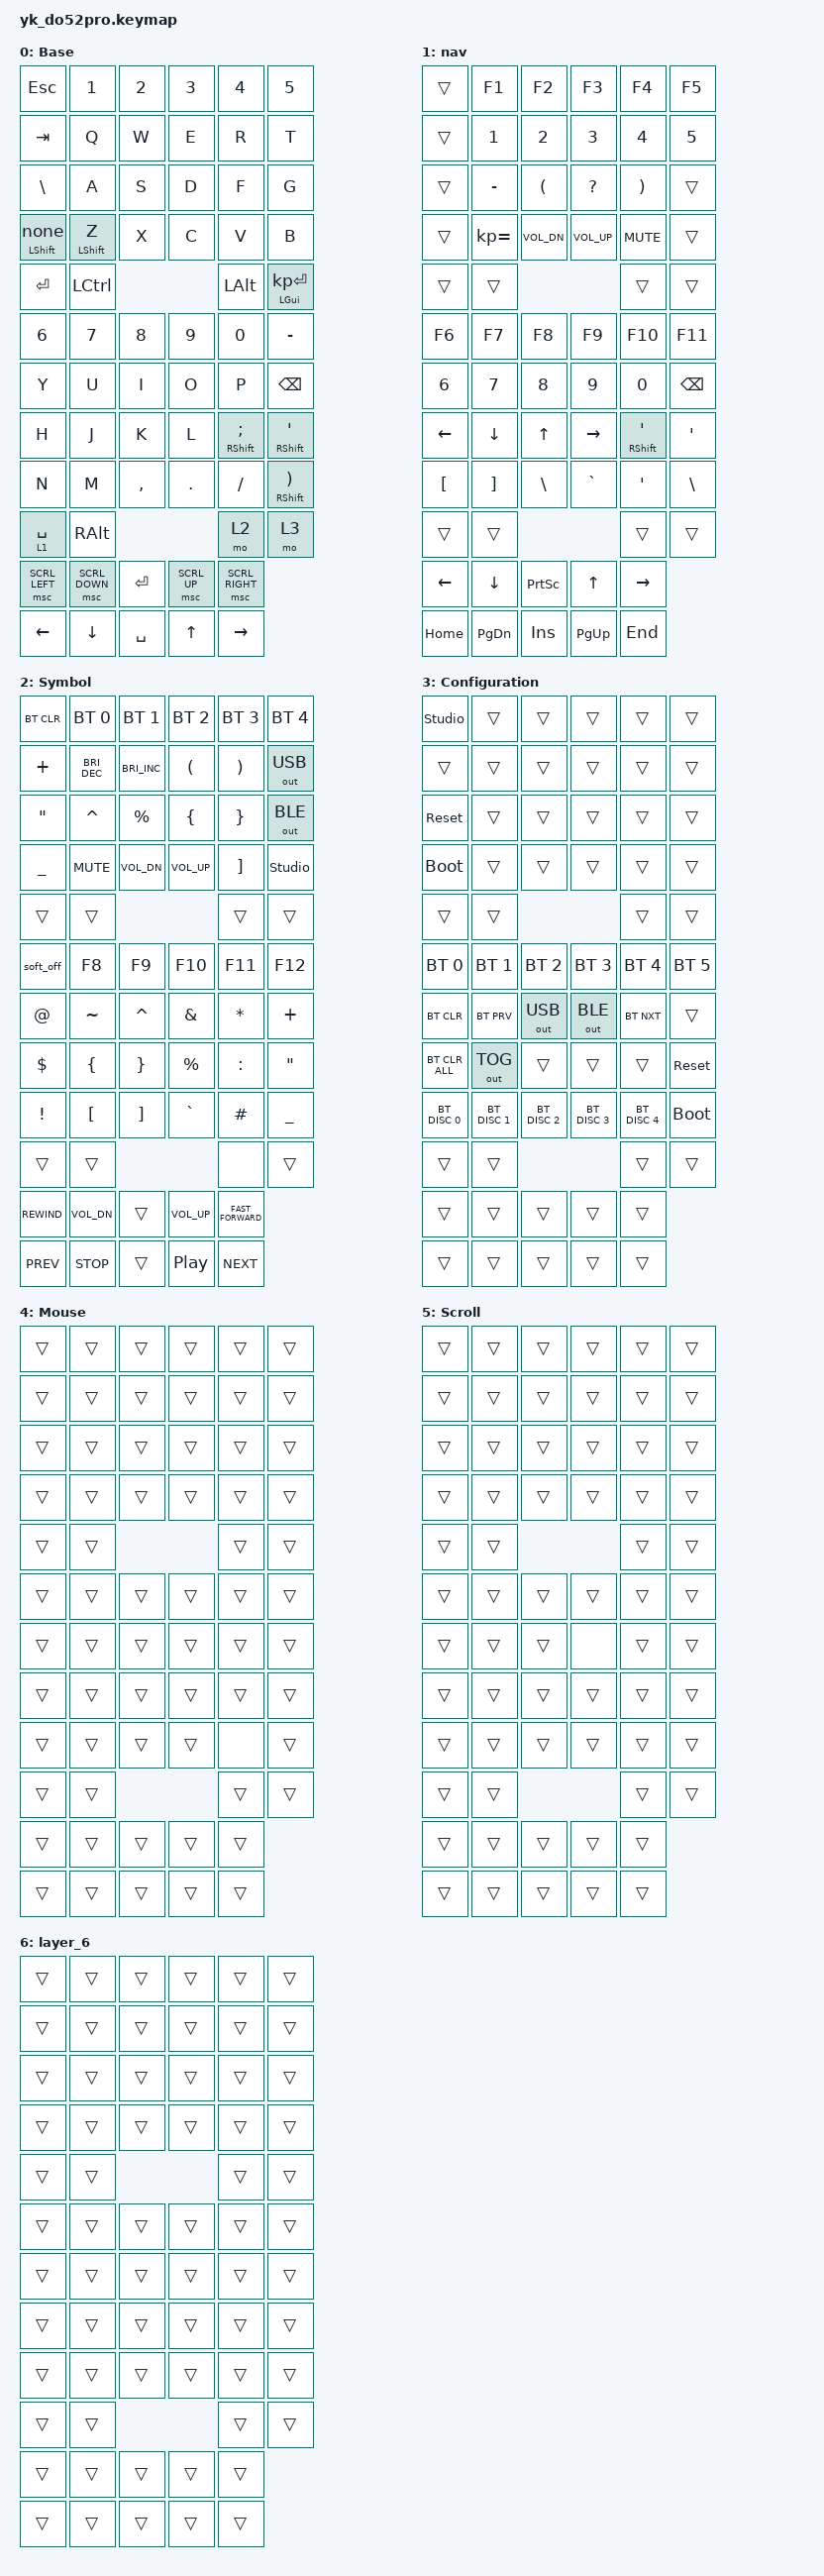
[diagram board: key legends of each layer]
/*
 * Copyright (c) 2020 The ZMK Contributors
 *
 * SPDX-License-Identifier: MIT
 */

#include "zmk-helpers/helper.h"
#include "include/yk_do52_key.h"

/*
 * Defines to enable/disable features
 *
 * These defines allow us to conditionally enable and disable parts of the keymap config.
 *
 * For example, if we decide to build the firmware without the mouse features, we can
 * disable all the config options that rely on those forks and modules without having
 * to edit the entire keymap file manually every time.
 */

#define HAS_MOUSE_KEYS
#define HAS_MOUSE_TP
#define BASE      0
#define GAME      1
#define MIRROR    2
#define SYMBOL    3
#define CONFIG    4
#define MOUSE     5
#define SCROLL_TP 6

#ifdef HAS_MOUSE_KEYS

#include <dt-bindings/zmk/mouse.h>
#include <behaviors/mouse_keys.dtsi>
#include <behaviors.dtsi>
#include <dt-bindings/zmk/bt.h>
#include <dt-bindings/zmk/keys.h>
#include <dt-bindings/zmk/outputs.h>
#include <dt-bindings/zmk/pointing.h>

#endif  // HAS_MOUSE_KEYS

#ifdef HAS_MOUSE_TP

// We store the trackpoint settings in a separate file
// to make organization a little easier.

#include "include/mouse_tp.dtsi"

#endif  // HAS_MOUSE_TP
// key-position labels

#define KEYS_L LT0 LT1 LT2 LT3 LT4 LM0 LM1 LM2 LM3 LM4 LB0 LB1 LB2 LB3 LB4  // left-hand keys
#define KEYS_R RT0 RT1 RT2 RT3 RT4 RM0 RM1 RM2 RM3 RM4 RB0 RB1 RB2 RB3 RB4  // right-hand keys
#define THUMBS LH3 LH2 LH1 LH0 RH0 RH1 RH2 RH3                              // thumb keys

// Adjust layer keys based on enabled features.
//
// This prevents build errors when we build the firmware
// without the mouse keys PR or the TP module.

#ifdef HAS_MOUSE_KEYS

#define U_THUMB_INNER &mo MOUSE_KEYS

#else

#define U_THUMB_INNER &none

#endif  // HAS_MOUSE_KEYS

#ifdef HAS_MOUSE_TP

#define U_TOG_TP_SET &tog MOUSE_TP_SET

#else

#define U_TOG_TP_SET &none

#endif  // HAS_MOUSE_TP

#define TAPPING_TERM_MS 200

// Disable line-wrap in your editor to see a "visualization" of the key layouts

&lt {
    flavor = "tap-unless-interrupted";
    //flavor = "balanced";
	tapping-term-ms = <250>;
};

&mt {
    flavor = "tap-unless-interrupted";
    //flavor = "balanced";
    tapping-term-ms = <250>;
};

&soft_off { hold-time-ms = <5000>; };

/ {
    behaviors {
        /* left-hand HRMs */
        /* right-hand HRMs */

        lshift: magic_left_shift {
            compatible = "zmk,behavior-hold-tap";
            flavor = "balanced";
            tapping-term-ms = <200>;                // repeat on tap-into-hold
            require-prior-idle-ms = <15>;
            #binding-cells = <2>;
            bindings = <&kp>, <&none>;

            hold-trigger-on-release;             // delay positional check until key-release
        };

        holdkey: holdkey {
            compatible = "zmk,behavior-hold-tap";
            label = "HOLDKEY";
            bindings = <&kp>, <&kp>;

            #binding-cells = <2>;
            tapping-term-ms = <200>;
            flavor = "tap-unless-interrupted";
    		//flavor = "balanced";
        };
    };

    combos {
        compatible = "zmk,combos";

        esc_combo {
            bindings = <&kp ESCAPE>;
            key-positions = <8 7>;
        };
    };

    keymap {
        compatible = "zmk,keymap";

        Base_layer {
            display-name = "Base";
            bindings = <
//left
&kp ESC				&kp N1				&kp N2		&kp N3			&kp N4					&kp N5
&kp TAB  			&kp Q				&kp W  		&kp E  			&kp R  					&kp T
&kp BACKSLASH  		&kp A				&kp S  		&kp D  			&kp F  					&kp G
&lshift LSHIFT 0	&holdkey LSHFT Z	&kp X  		&kp C			&kp V  					&kp B
&kp RETURN  		&kp LCTRL  										&kp LALT  				&holdkey LEFT_GUI KP_ENTER
//right
&kp N6				&kp N7  		&kp N8  	&kp N9  		&kp N0  				&kp MINUS
&kp Y  				&kp U  			&kp I  		&kp O  			&kp P  					&kp BACKSPACE  
&kp H  				&kp J  			&kp K  		&kp L  			&holdkey RSHIFT SEMI	&holdkey RSHFT SQT  
&kp N  				&kp M  			&kp COMMA  	&kp PERIOD		&kp SLASH  				&holdkey RSHFT RPAR  
&lt 1 SPACE  		&kp RALT  									&mo 2  					&mo 3  
&msc SCRL_LEFT  	&msc SCRL_DOWN  &kp ENTER  	&msc SCRL_UP	&msc SCRL_RIGHT  
&kp LEFT  			&kp DOWN  		&kp SPACE  	&kp UP_ARROW	&kp RIGHT
            >;

            label = "BAS";
        };

        spc_layer {
            display-name = "nav";
            bindings = <
//left
&trans		&kp F1  		&kp F2  				&kp F3  		&kp F4		&kp F5  
&trans		&kp N1  		&kp N2  				&kp N3			&kp N4		&kp N5  
&trans		&kp MINUS  		&kp LEFT_PARENTHESIS	&kp QUESTION	&kp RPAR  	&trans  
&trans		&kp KP_EQUAL	&kp C_VOL_DN  			&kp C_VOLUME_UP	&kp C_MUTE 	&trans 
&trans		&trans  												&trans  	&trans
//right
&kp F6  	&kp F7		&kp F8  		&kp F9  	&kp F10			&kp F11  
&kp N6  	&kp N7		&kp N8			&kp N9  	&kp N0			&kp BSPC  
&kp LEFT	&kp DOWN	&kp UP_ARROW	&kp RIGHT  	&mt RSHFT SQT	&kp SQT  
&kp LBKT	&kp RBKT	&kp BSLH		&kp GRAVE  	&kp SQT  		&kp BSLH 
&trans		&trans									&trans  		&trans
&kp LEFT	&kp DOWN	&kp PSCRN  		&kp UP  	&kp RIGHT  
&kp HOME	&kp PG_DN 	&kp INS  		&kp PG_UP	&kp END
            >;

            label = "SPC";
        };

        mod_layer {
            display-name = "Symbol";
            bindings = <
//left
&bt BT_CLR	&bt BT_SEL 0  			&bt BT_SEL 1  			&bt BT_SEL 2  	&bt BT_SEL 3	&bt BT_SEL 4
&kp PLUS  	&kp C_BRIGHTNESS_DEC	&kp C_BRIGHTNESS_INC	&kp LPAR  		&kp RPAR  		&out OUT_USB
&kp DQT		&kp CARET  				&kp PERCENT  			&kp LBRC  		&kp RBRC  		&out OUT_BLE  
&kp UNDER	&kp C_MUTE  			&kp C_VOL_DN  			&kp C_VOLUME_UP	&kp RBKT  		&studio_unlock
&trans  	&trans  														&trans  		&trans
//right
&soft_off		&kp F8  		&kp F9		&kp F10  			&kp F11		&kp F12
&kp AT			&kp TILDE  		&kp CARET	&kp AMPERSAND		&kp STAR	&kp PLUS
&kp DOLLAR		&kp LBRC  		&kp RBRC	&kp PERCENT			&kp COLON	&kp DQT  
&kp EXCL		&kp LBKT  		&kp RBKT	&kp GRAVE			&kp HASH	&kp UNDER  
&trans  		&trans  										&none  		&trans  
&kp C_REWIND	&kp C_VOL_DN	&trans		&kp C_VOL_UP		&kp C_FAST_FORWARD
&kp C_PREV		&kp C_STOP		&trans		&kp C_PLAY_PAUSE	&kp C_NEXT
            >;

            label = "MOD";
        };

        Config_layer {
            display-name = "Configuration";
            bindings = <
//left
&studio_unlock  &trans  &trans  &trans  &trans  &trans  
&trans  		&trans  &trans  &trans  &trans  &trans  
&sys_reset  	&trans  &trans  &trans  &trans  &trans  
&bootloader  	&trans  &trans  &trans  &trans  &trans
&trans  		&trans  &trans  &trans  
//right
&bt BT_SEL 0	&bt BT_SEL 1	&bt BT_SEL 2  	&bt BT_SEL 3  	&bt BT_SEL 4  	&bt BT_SEL 5  
&bt BT_CLR  	&bt BT_PRV		&out OUT_USB  	&out OUT_BLE  	&bt BT_NXT  	&trans  
&bt BT_CLR_ALL	&out OUT_TOG	&trans  		&trans  		&trans  		&sys_reset  
&bt BT_DISC 0	&bt BT_DISC 1	&bt BT_DISC 2	&bt BT_DISC 3	&bt BT_DISC 4	&bootloader  
&trans  		&trans  										&trans  		&trans  
&trans  		&trans  		&trans  		&trans  		&trans  
&trans  		&trans  		&trans  		&trans  		&trans
            >;
        };

        Mouse_layer {
            display-name = "Mouse";
            bindings = <
&trans  &trans  &trans  &trans  &trans  &trans  
&trans  &trans  &trans  &trans  &trans  &trans
&trans  &trans  &trans  &trans  &trans  &trans
&trans  &trans  &trans  &trans  &trans  &trans
&trans  &trans  &trans  &trans
&trans  &trans  &trans  &trans  &trans  &trans  
&trans  &trans  &trans  &trans  &trans  &trans  
&trans  &trans  &trans  &trans  &trans  &trans
&trans  &trans  &trans  &trans  &none  	&trans
&trans  &trans  &trans  &trans
&trans  &trans  &trans  &trans  &trans
&trans  &trans  &trans  &trans  &trans
            >;
        };

        Scroll_layer {
            display-name = "Scroll";
            bindings = <
&trans  &trans  &trans  &trans  &trans  &trans
&trans  &trans  &trans  &trans  &trans  &trans
&trans  &trans  &trans  &trans  &trans  &trans  
&trans  &trans  &trans  &trans  &trans  &trans  
&trans  &trans  &trans  &trans  
&trans  &trans  &trans  &trans  &trans  &trans  
&trans  &trans  &trans  &none  	&trans  &trans  
&trans  &trans  &trans  &trans  &trans  &trans  
&trans  &trans  &trans  &trans  &trans  &trans  
&trans  &trans  &trans  &trans  
&trans  &trans  &trans  &trans  &trans  
&trans  &trans  &trans  &trans  &trans
            >;
        };

        layer_6 {
            bindings = <
&trans  &trans  &trans  &trans  &trans  &trans  
&trans  &trans  &trans  &trans  &trans  &trans  
&trans  &trans  &trans  &trans  &trans  &trans  
&trans  &trans  &trans  &trans  &trans  &trans  
&trans  &trans  &trans  &trans  
&trans  &trans  &trans  &trans  &trans  &trans 
&trans  &trans  &trans  &trans  &trans  &trans  
&trans  &trans  &trans  &trans  &trans  &trans  
&trans  &trans  &trans  &trans  &trans  &trans
&trans  &trans  &trans  &trans  
&trans  &trans  &trans  &trans  &trans  
&trans  &trans  &trans  &trans  &trans
            >;
        };
    };
};
